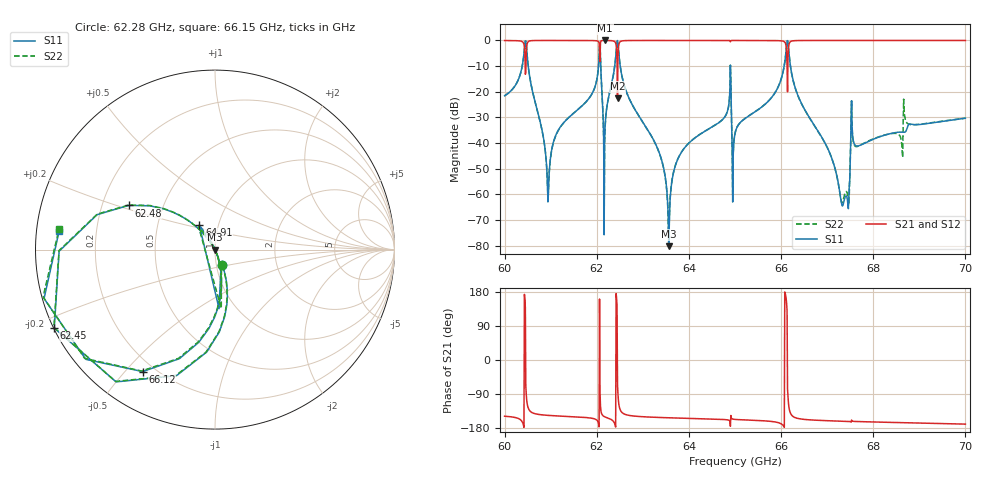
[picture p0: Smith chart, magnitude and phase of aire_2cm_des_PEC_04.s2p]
! TOUCHSTONE file generated by CST MICROWAVE STUDIO
! Date and time: Wed Feb 28 00:11:49 2024
! Project name: aire_des.cst
! Header version: 2018
! Port assignment regex: !\s*Touchstone port\s*([0-9]+)\s*=\s*(CST MWS port|CST DS port)\s*([0-9]+|Zmin|Zmax)\s*\(\"(.*)\"\)(\s*mode\s*([0-9]+))?.*
! Touchstone port assignment:
! Touchstone port 1 = CST MWS port 1 ("")
! Touchstone port 2 = CST MWS port 2 ("")
# GHz S MA R 376.7
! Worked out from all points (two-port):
!   1001 points, 60 GHz to 70 GHz, reference 376.7 ohm
!   highest |S21| = 0.00 dB at 62.18 GHz (marker M1); lowest = -22.6 dB at 62.45 GHz (marker M2)
!   |S21| within 3 dB of the highest: 62.47 GHz to 66.11 GHz (3.644 GHz wide, 5.67 % of centre); 66.16 GHz to end of sweep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
!   lowest |S11| = -80.2 dB at 63.56 GHz (marker M3), VSWR 1.00, Z = 377 + j0.0391 ohm
!   |S11| at or under -10 dB: 60.51 GHz to 62.04 GHz (1.526 GHz wide, 2.49 % of centre); 62.51 GHz to 64.9 GHz (2.39 GHz wide, 3.75 % of centre); 66.2 GHz to end of sweep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
!   |S22| runs from -76.8 to 0.0 dB; largest |S21 - S12| = 0.012
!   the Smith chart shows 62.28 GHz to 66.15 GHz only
!   S11 on the Smith chart (normalised r, x): 62.28 GHz: 1.07, -0.19; 62.45 GHz: 0.00, -0.23; 62.48 GHz: 0.31, +0.22; 64.91 GHz: 0.81, +0.23; 66.12 GHz: 0.15, -0.56; 66.15 GHz: 0.07, +0.06
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60  0.08351 -58.0  0.9967 -148.4  0.9964 -148.4  0.08345 -58.8
60.46  0.9708 -158.3  0.2355 -68.8  0.2355 -69.1  0.9699 -158.8
60.95  0.0009987 -15.4  1 -146.2  0.9998 -146.2  0.001096 -105.7
61.67  0.05205 -60.4  0.9985 -150.9  0.9987 -150.9  0.05205 -61.3
62.05  0.4626 -86.1  0.8832 -176.5  0.8851 -176.4  0.463 -86.9
62.18  0.02002 -60.3  1 -150.3  1 -150.3  0.01981 -60.3
62.28  0.09678 -64.8  0.9955 -155.0  0.9953 -155.0  0.09674 -65.2
62.45  0.9965 -154.0  0.07425 -64.7  0.07421 -64.5  0.9967 -154.2
62.48  0.5405 152.9  0.8416 -117.2  0.8414 -117.2  0.5406 152.7
63.34  0.007077 118.5  0.9999 -151.6  0.9998 -151.6  0.006989 119.7
63.56  9.749e-05 147.8  0.9999 -152.5  0.9998 -152.5  0.0001442 -157.4
63.87  0.007305 -64.5  1 -153.7  0.9997 -153.7  0.007355 -64.4
64.91  0.1618 122.6  0.9867 -146.5  0.9873 -146.4  0.1606 125.1
65  0.01528 -66.7  0.9998 -156.8  0.9999 -156.8  0.01543 -67.3
66.12  0.7901 -120.7  0.6103 149.3  0.6113 149.2  0.7905 -121.1
66.15  0.8745 173.2  0.4769 -97.6  0.4785 -97.4  0.8762 172.5
66.67  0.02619 113.5  0.9996 -158.3  0.9997 -158.3  0.02587 109.7
67.34  0.000606 -147.6  1 -161.5  0.9999 -161.5  0.0007315 -1.3
67.44  0.0007771 -113.9  1 -161.9  1 -161.9  0.001022 -30.5
67.56  0.01229 -76.5  1 -161.8  0.9999 -161.8  0.01185 -66.6
68.34  0.01503 -77.4  1 -164.5  0.9998 -164.5  0.015 -71.6
70  0.03049 -80.1  1 -169.2  0.9995 -169.2  0.0305 -78.3
